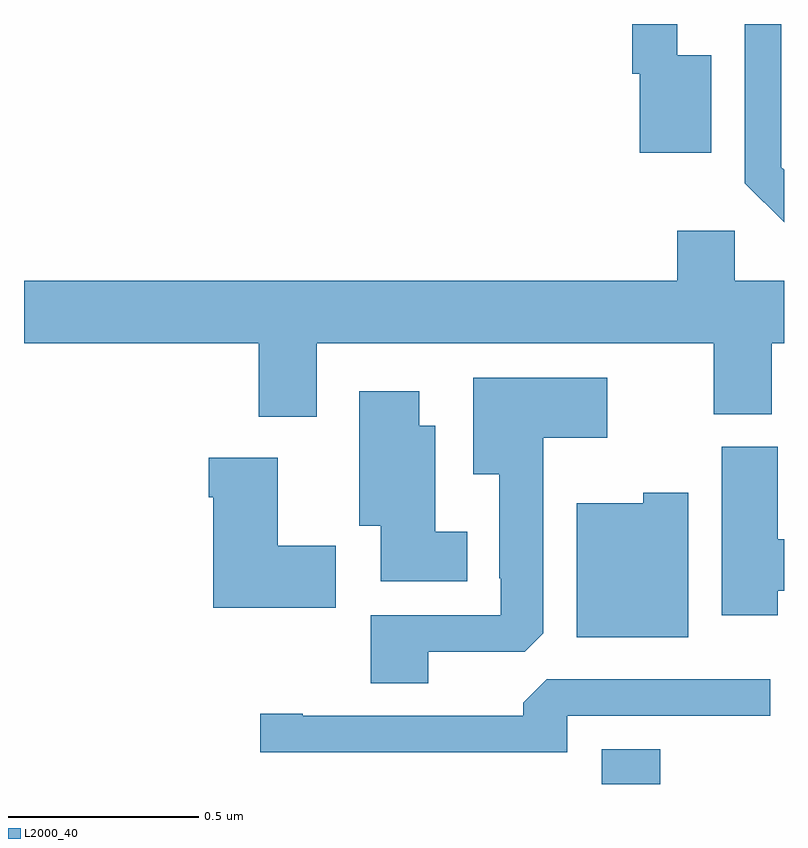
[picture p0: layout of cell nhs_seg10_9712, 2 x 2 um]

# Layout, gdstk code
import gdstk
lib = gdstk.Library(unit=1e-6, precision=1e-09)
def R(c, l, rs):  # rectangles x0, y0, x1, y1
    for r in rs: c.add(gdstk.rectangle(r[:2], r[2:], *l))
def P(c, l, *ps):  # polygons
    for p in ps: c.add(gdstk.Polygon(p, *l))
L2000_40 = (2000, 40)

nhs_seg10_9712 = lib.new_cell('nhs_seg10_9712')
R(nhs_seg10_9712, L2000_40, [(234.521,1288.5,234.674,1288.591)])
P(nhs_seg10_9712, L2000_40, [(235,1290.116),(234.993,1290.123),(234.993,1290.5),(234.897,1290.5),(234.897,1290.081),(235,1289.978)],
  [(234.808,1290.418),(234.719,1290.418),(234.719,1290.5),(234.601,1290.5),(234.601,1290.369),(234.62,1290.369),(234.62,1290.161),(234.808,1290.161)],
  [(233.77,1289.66),(234.815,1289.66),(234.815,1289.473),(234.968,1289.473),(234.968,1289.66),(235,1289.66),(235,1289.824),(234.87,1289.824),(234.87,1289.956),(234.719,1289.956),(234.719,1289.824),(233,1289.824),(233,1289.66),(233.618,1289.66),(233.618,1289.466),(233.77,1289.466)],
  [(234.064,1288.848),(234.318,1288.848),(234.367,1288.897),(234.367,1289.411),(234.535,1289.411),(234.535,1289.569),(234.182,1289.569),(234.182,1289.315),(234.251,1289.315),(234.251,1289.041),(234.255,1289.041),(234.255,1288.944),(233.912,1288.944),(233.912,1288.765),(234.064,1288.765)],
  [(234.166,1289.164),(234.082,1289.164),(234.082,1289.443),(234.04,1289.443),(234.04,1289.533),(233.882,1289.533),(233.882,1289.18),(233.939,1289.18),(233.939,1289.033),(234.166,1289.033)],
  [(234.983,1289.008),(235,1289.008),(235,1289.144),(234.983,1289.144),(234.983,1289.388),(234.836,1289.388),(234.836,1288.944),(234.983,1288.944)],
  [(233.821,1289.127),(233.668,1289.127),(233.668,1289.359),(233.486,1289.359),(233.486,1289.255),(233.498,1289.255),(233.498,1288.964),(233.821,1288.964)],
  [(234.748,1289.266),(234.63,1289.266),(234.63,1289.239),(234.455,1289.239),(234.455,1288.886),(234.748,1288.886)],
  [(234.429,1288.68),(234.964,1288.68),(234.964,1288.776),(234.375,1288.776),(234.314,1288.714),(234.314,1288.68),(233.734,1288.68),(233.734,1288.685),(233.622,1288.685),(233.622,1288.584),(234.429,1288.584)])

lib.write_gds('nhs_seg10_9712.gds')
